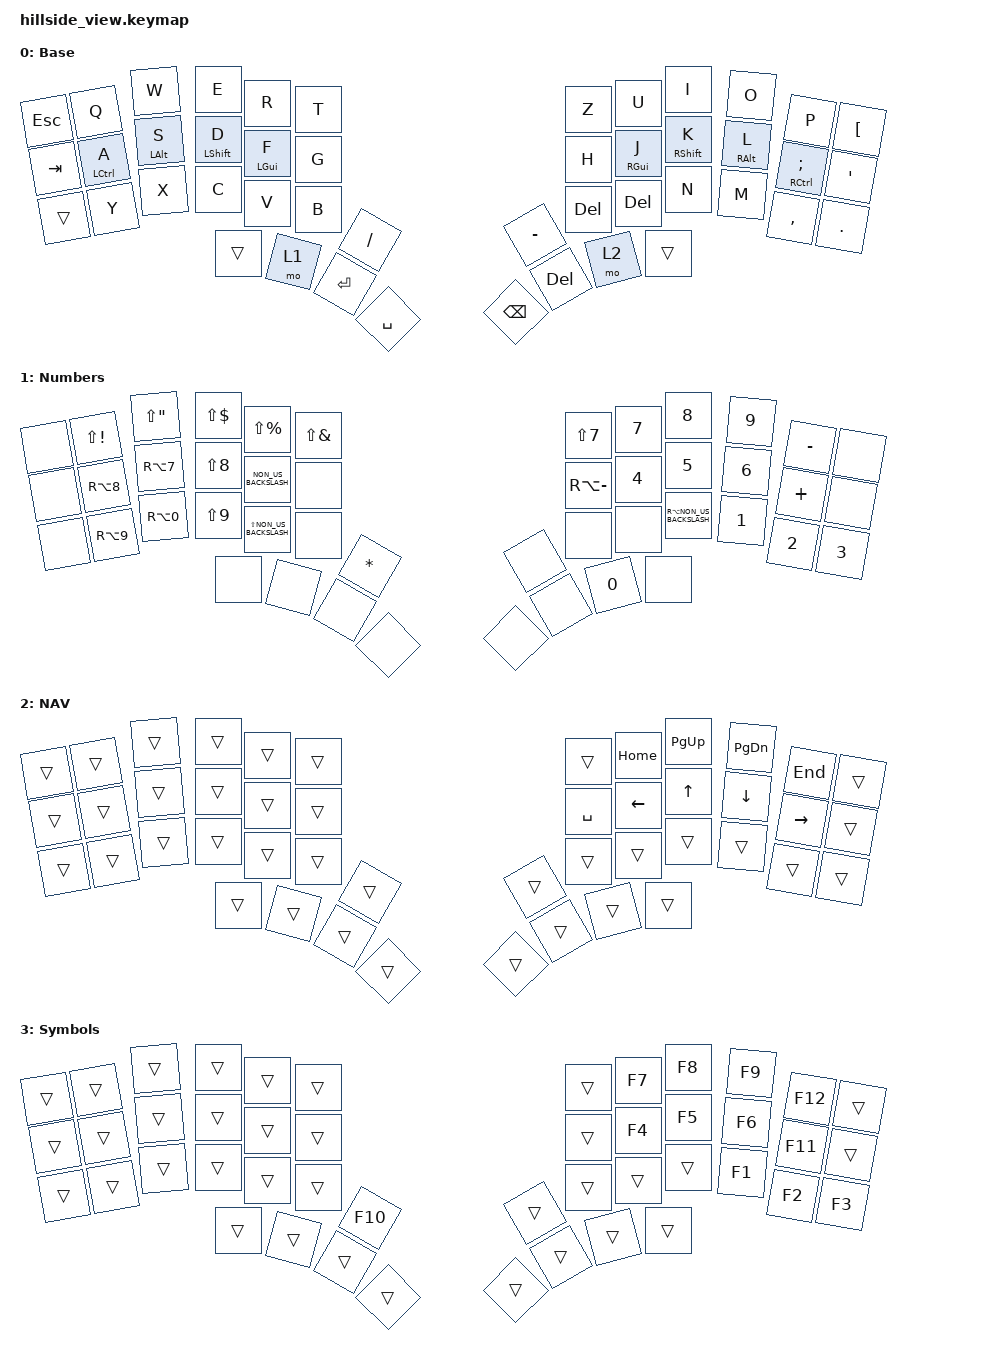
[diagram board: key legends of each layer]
#include <behaviors.dtsi>
#include <dt-bindings/zmk/keys.h>

/ {
    keymap {
        compatible = "zmk,keymap";

        Base {
            bindings = <
&kp ESCAPE  &kp Q        &kp W           &kp E             &kp R           &kp T                                                      &kp Z  &kp U            &kp I              &kp O            &kp P                &kp LBKT
&kp TAB     &mt LCTRL A  &mt LEFT_ALT S  &mt LEFT_SHIFT D  &mt LEFT_GUI F  &kp G                                                      &kp H  &mt RIGHT_GUI J  &mt RIGHT_SHIFT K  &mt RIGHT_ALT L  &mt RCTRL SEMICOLON  &kp SQT
&trans      &kp Y        &kp X           &kp C             &kp V           &kp B  &kp DEL                                 &kp DEL     &kp N  &kp M            &kp COMMA          &kp DOT          &kp SLASH            &kp MINUS
                                                           &trans          &mo 1  &kp RETURN  &kp SPACE    &kp BACKSPACE  &kp DELETE  &mo 2  &trans
            >;
        };

        Numbers {
            bindings = <
&none  &kp LS(EXCL)      &kp LS(DQT)       &kp LS(DLLR)  &kp LS(PRCNT)             &kp LS(AMPS)                                &kp LS(NUMBER_7)          &kp N7  &kp N8  &kp N9  &kp MINUS     &none
&none  &kp RA(NUMBER_8)  &kp RA(NUMBER_7)  &kp LS(N8)    &kp NON_US_BACKSLASH      &none                                       &kp RA(MINUS)             &kp N4  &kp N5  &kp N6  &kp PLUS      &none
&none  &kp RA(NUMBER_9)  &kp RA(NUMBER_0)  &kp LS(N9)    &kp LS(NON_US_BACKSLASH)  &none         &none                  &none  &kp RA(NON_US_BACKSLASH)  &kp N1  &kp N2  &kp N3  &kp ASTERISK  &none
                                                         &none                     &none         &none  &none    &none  &none  &kp N0                    &none
            >;
        };

        NAV {
            bindings = <
&trans  &trans  &trans  &trans  &trans  &trans                                    &trans     &kp HOME  &kp PG_UP  &kp PG_DN  &kp END    &trans
&trans  &trans  &trans  &trans  &trans  &trans                                    &kp SPACE  &kp LEFT  &kp UP     &kp DOWN   &kp RIGHT  &trans
&trans  &trans  &trans  &trans  &trans  &trans  &trans                    &trans  &trans     &trans    &trans     &trans     &trans     &trans
                                &trans  &trans  &trans  &trans    &trans  &trans  &trans     &trans
            >;
        };

        Symbols {
            bindings = <
&trans  &trans  &trans  &trans  &trans  &trans                                    &trans  &kp F7  &kp F8  &kp F9  &kp F12  &trans
&trans  &trans  &trans  &trans  &trans  &trans                                    &trans  &kp F4  &kp F5  &kp F6  &kp F11  &trans
&trans  &trans  &trans  &trans  &trans  &trans  &trans                    &trans  &trans  &kp F1  &kp F2  &kp F3  &kp F10  &trans
                                &trans  &trans  &trans  &trans    &trans  &trans  &trans  &trans
            >;
        };
    };
};

